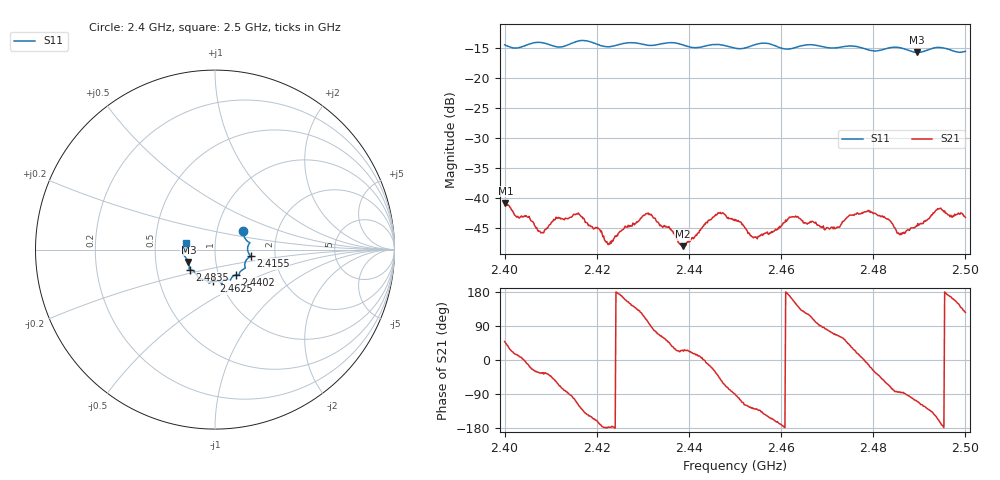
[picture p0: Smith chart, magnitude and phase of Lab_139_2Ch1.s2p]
# Hz S RI R 50
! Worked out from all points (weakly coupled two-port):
!   601 points, 2.4 GHz to 2.5 GHz, reference 50 ohm
!   highest |S21| = -40.91 dB at 2.4002 GHz (marker M1); lowest = -48.1 dB at 2.4387 GHz (marker M2)
!   lowest |S11| = -15.7 dB at 2.4895 GHz (marker M3), VSWR 1.39, Z = 36.8 - j5.15 ohm
!   |S11| at or under -10 dB: start of sweep to end of sweep
!   S12 and S22 are empty: the file has one direction only
!   S11 on the Smith chart (normalised r, x): 2.4 GHz: 1.33, +0.29; 2.4155 GHz: 1.49, -0.11; 2.4402 GHz: 1.20, -0.35; 2.4625 GHz: 0.92, -0.34; 2.4835 GHz: 0.74, -0.17; 2.5 GHz: 0.72, +0.05
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2.4e9  0.1564 0.106  0.00588 0.00673  0 0  0 0
2.400167e9  0.1564 0.1036  0.00624 0.00649  0 0  0 0
2.408e9  0.1941 0.0374  0.00423 -0.00283  0 0  0 0
2.4155e9  0.1981 -0.0356  -0.00241 -0.00688  0 0  0 0
2.416667e9  0.2016 -0.04  -0.0043 -0.00542  0 0  0 0
2.422667e9  0.1676 -0.0712  -0.00414 -0.000213  0 0  0 0
2.430667e9  0.1497 -0.1148  -0.00223 0.00699  0 0  0 0
2.433333e9  0.1356 -0.1336  0.00233 0.00575  0 0  0 0
2.438667e9  0.1261 -0.1405  0.00353 0.00172  0 0  0 0
2.440167e9  0.1144 -0.1408  0.00396 0.0016  0 0  0 0
2.446333e9  0.0845 -0.1706  0.00561 -0.00493  0 0  0 0
2.45e9  0.0641 -0.1654  -2.32e-05 -0.00641  0 0  0 0
2.454333e9  0.0376 -0.186  -0.00292 -0.00363  0 0  0 0
2.4625e9  -0.00976 -0.1766  -0.00648 0.00245  0 0  0 0
2.466667e9  -0.0329 -0.1866  -0.00236 0.00589  0 0  0 0
2.478833e9  -0.104 -0.1371  0.00764 -0.00147  0 0  0 0
2.483333e9  -0.1385 -0.1116  0.00268 -0.00601  0 0  0 0
2.4835e9  -0.1393 -0.1114  0.00242 -0.00599  0 0  0 0
2.485667e9  -0.1444 -0.1062  0.000421 -0.00489  0 0  0 0
2.4895e9  -0.1483 -0.0682  -0.0019 -0.00544  0 0  0 0
2.494167e9  -0.1782 -0.0251  -0.00746 -0.00301  0 0  0 0
2.5e9  -0.1628 0.0364  -0.00395 0.00556  0 0  0 0
